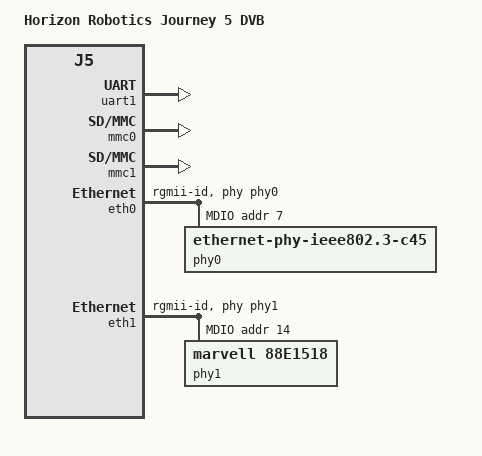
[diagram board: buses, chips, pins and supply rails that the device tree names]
// SPDX-License-Identifier: (GPL-2.0+ OR MIT)
/*
 * Copyright (C) 2021 Beijing Horizon Robotics Co., Ltd
 */

/dts-v1/;
#include "hobot-j5-soc.dtsi"

/ {
	model = "Horizon Robotics Journey 5 DVB";
	compatible = "hobot,j5-dvb", "hobot,j5";


	chosen {
		stdout-path = "serial1";
		bootargs="earlycon=uart8250,mmio32,0x43b90000 init=/init root=/dev/ram0 rw rootwait debug";
		#address-cells = <1>;
		#size-cells = <1>;
		module@0 {
			compatible = "xen,linux-zimage", "xen,multiboot-module";
			reg = <0x83000000 0x02000000>;
			bootargs = "rw root=/dev/mmcblk0p33 rdinit=/init console=hvc0,921600n8 earlycon=xenboot loglevel=10";
		};
		module@1 {
			compatible = "xen,linux-initrd", "xen,multiboot-module";
			reg = <0x85000000 0x02000000>;
		};
	};
};

&uart1 {
	status = "okay";
};

&gpio0 {
	status = "okay";
};

&gpio1 {
	status = "okay";
};

&gpio2 {
	status = "okay";
};

&mmc0 {
	status = "okay";
	hs400-clk-driving = <6>;
	hs400-cmd-driving = <4>;
	hs400-data-driving = <4>;
	hs200-clk-driving = <6>;
	hs200-cmd-driving = <4>;
	hs200-data-driving = <4>;
	hs-mmc-clk-driving = <6>;
	hs-mmc-cmd-driving = <3>;
	hs-mmc-data-driving = <4>;
	id-mode-clk-driving = <6>;
	id-mode-cmd-driving = <3>;
	id-mode-data-driving = <6>;
	default-driving = <6>;
};

&mmc1 {
	status = "okay";
	sdr104-clk-driving = <6>;
	sdr104-cmd-driving = <4>;
	sdr104-data-driving = <4>;
	hs-sd-clk-driving = <6>;
	hs-sd-cmd-driving = <3>;
	hs-sd-data-driving = <4>;
	id-mode-clk-driving = <6>;
	id-mode-cmd-driving = <3>;
	id-mode-data-driving = <6>;
	default-driving = <6>;
};

&eth0 {
	status = "okay";
	phy-less = <0x0>;
	phy-handle = <&phy0>;
	phy-mode = "rgmii-id";
	mdio {
		#address-cells = <0x1>;
		#size-cells = <0x0>;
		phy0: phy@7 {
			compatible = "ethernet-phy-ieee802.3-c45";
			reg = <0x7>;
		};
	};
};

&eth1 {
	status = "okay";
	phy-less = <0x0>;
	phy-handle = <&phy1>;
	phy-mode = "rgmii-id";
	mdio {
		#address-cells = <0x1>;
		#size-cells = <0x0>;
		phy1: phy@e {
			compatible = "marvell,88E1518","ethernet-phy-ieee802.3-c22";
			reg = <0xe>;
		};
	};
};
